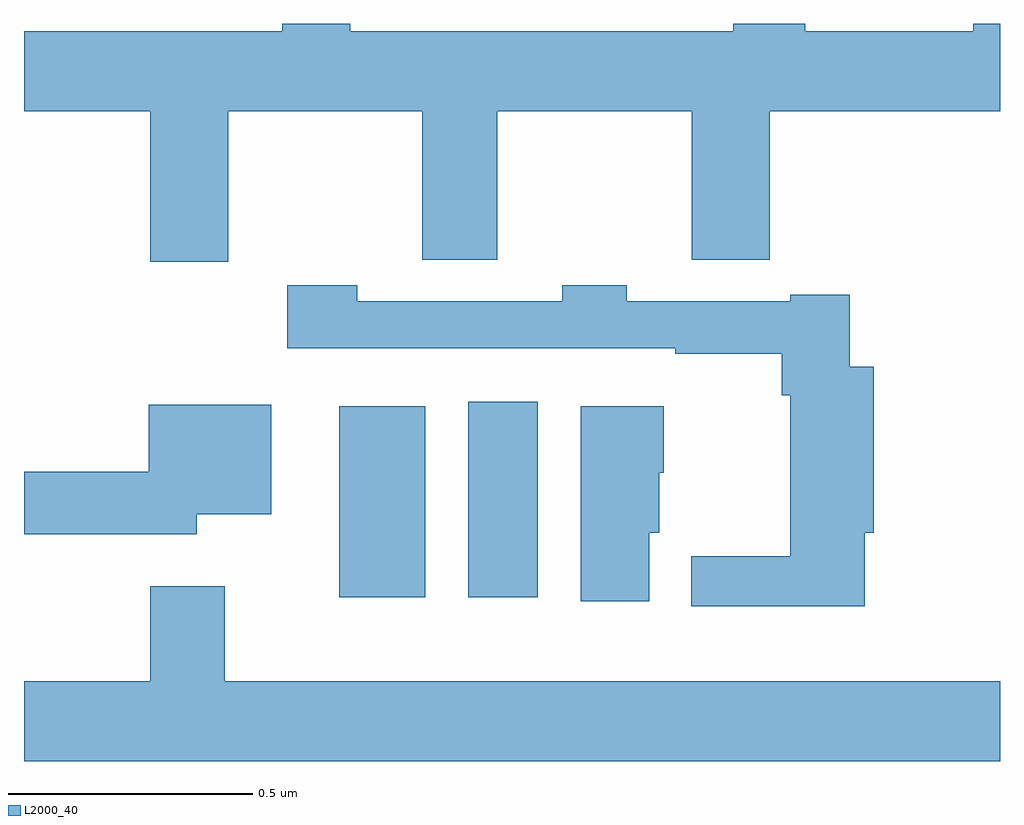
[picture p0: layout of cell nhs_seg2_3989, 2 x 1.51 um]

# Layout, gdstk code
import gdstk
lib = gdstk.Library(unit=1e-6, precision=1e-09)
def R(c, l, rs):  # rectangles x0, y0, x1, y1
    for r in rs: c.add(gdstk.rectangle(r[:2], r[2:], *l))
def P(c, l, *ps):  # polygons
    for p in ps: c.add(gdstk.Polygon(p, *l))
L2000_40 = (2000, 40)

nhs_seg2_3989 = lib.new_cell('nhs_seg2_3989')
R(nhs_seg2_3989, L2000_40, [(160.646,662.624,160.822,663.016), (160.91,662.624,161.053,663.025)])
P(nhs_seg2_3989, L2000_40, [(160.419,663.62),(160.816,663.62),(160.816,663.316),(160.97,663.316),(160.97,663.62),(161.368,663.62),(161.368,663.316),(161.528,663.316),(161.528,663.62),(162,663.62),(162,663.8),(161.945,663.8),(161.945,663.784),(161.601,663.784),(161.601,663.8),(161.453,663.8),(161.453,663.784),(160.669,663.784),(160.669,663.8),(160.529,663.8),(160.529,663.784),(160,663.784),(160,663.62),(160.259,663.62),(160.259,663.312),(160.419,663.312)],
  [(161.723,662.757),(161.741,662.757),(161.741,663.097),(161.692,663.097),(161.692,663.244),(161.57,663.244),(161.57,663.231),(161.235,663.231),(161.235,663.264),(161.103,663.264),(161.103,663.231),(160.683,663.231),(160.683,663.264),(160.539,663.264),(160.539,663.135),(161.335,663.135),(161.335,663.123),(161.553,663.123),(161.553,663.038),(161.57,663.038),(161.57,662.708),(161.367,662.708),(161.367,662.606),(161.723,662.606)],
  [(160.354,662.795),(160.507,662.795),(160.507,663.019),(160.256,663.019),(160.256,662.882),(160,662.882),(160,662.754),(160.354,662.754)],
  [(161.281,662.757),(161.302,662.757),(161.302,662.88),(161.311,662.88),(161.311,663.016),(161.141,663.016),(161.141,662.616),(161.281,662.616)],
  [(162,662.452),(160.411,662.452),(160.411,662.647),(160.259,662.647),(160.259,662.452),(160,662.452),(160,662.288),(162,662.288)])

lib.write_gds('nhs_seg2_3989.gds')
